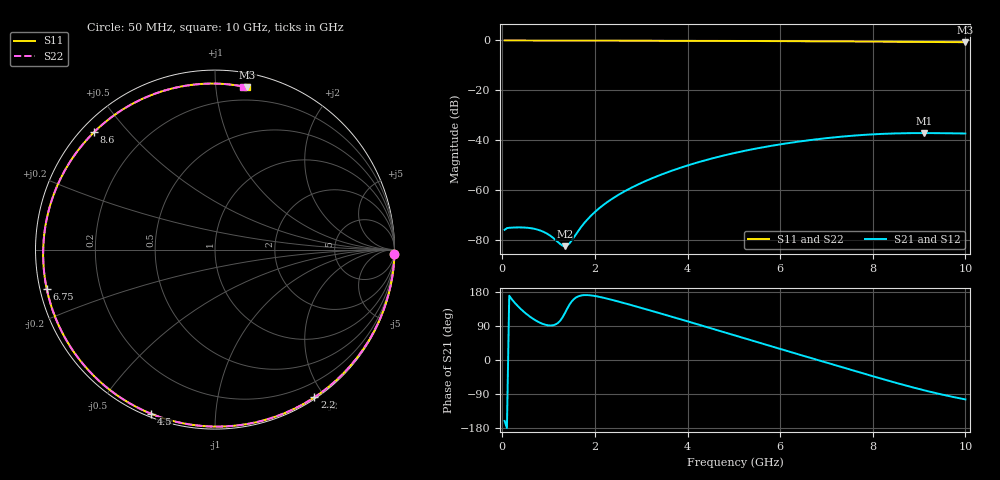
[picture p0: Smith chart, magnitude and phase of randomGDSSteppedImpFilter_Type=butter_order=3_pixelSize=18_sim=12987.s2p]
! freq	dB(S11)	phase(S11)	dB(S12)	phase(S12)
!  dB(S21)	phase(S21)	dB(S22)	phase(S22)
!S-par simulation data
#  GHz  S  DB  R 50
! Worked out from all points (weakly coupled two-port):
!   200 points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, 50 MHz to 10 GHz, reference 50 ohm
!   highest |S21| = -37.20 dB at 9.1 GHz (marker M1); lowest = -82.6 dB at 1.35 GHz (marker M2)
!   lowest |S11| = -0.7 dB at 10 GHz (marker M3), VSWR 24.72, Z = 5.02 + j60.8 ohm
!   |S11| at or under -10 dB: nowhere
!   |S22| runs from -0.7 to 0.0 dB; largest |S21 - S12| = 0
!   S11 on the Smith chart (normalised r, x): 50 MHz: 0, -88; 2.2 GHz: 0.02, -1.88; 4.5 GHz: 0.01, -0.68; 6.75 GHz: 0.02, -0.11; 8.6 GHz: 0.04, +0.41; 10 GHz: 0.10, +1.22
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0.05  -0.00 -1.3  -76.07 -160.8  -76.07 -160.8  -0.00 -1.3
0.2  -0.00 -5.2  -75.17 161.1  -75.17 161.1  -0.00 -5.2
0.65  -0.02 -16.9  -75.50 109.9  -75.50 109.9  -0.02 -16.9
0.9  -0.03 -23.3  -76.96 94.2  -76.96 94.2  -0.03 -23.3
1.15  -0.04 -29.7  -80.11 93.8  -80.11 93.8  -0.04 -29.7
1.35  -0.04 -34.8  -82.63 123.2  -82.63 123.2  -0.04 -34.8
1.5  -0.05 -38.6  -80.31 154.7  -80.31 154.7  -0.05 -38.6
1.75  -0.06 -44.9  -73.80 171.1  -73.80 171.1  -0.06 -44.8
2.2  -0.07 -56.0  -65.83 163.8  -65.83 163.8  -0.07 -56.0
2.75  -0.09 -69.5  -59.51 146.1  -59.51 146.1  -0.09 -69.5
3.4  -0.11 -85.2  -54.11 123.5  -54.11 123.5  -0.11 -85.1
4.5  -0.16 -111.3  -47.53 83.9  -47.53 83.9  -0.16 -111.2
5.05  -0.19 -124.4  -45.06 63.8  -45.06 63.8  -0.19 -124.2
5.9  -0.25 -145.0  -42.04 32.8  -42.04 32.8  -0.25 -144.8
6.7  -0.32 -165.6  -39.89 3.9  -39.89 3.9  -0.32 -165.3
6.75  -0.33 -167.0  -39.78 2.1  -39.78 2.1  -0.33 -166.6
7.6  -0.42 168.9  -38.20 -28.5  -38.20 -28.5  -0.42 169.4
8.35  -0.51 144.7  -37.42 -55.0  -37.42 -55.0  -0.51 145.4
8.6  -0.54 135.8  -37.29 -63.6  -37.29 -63.6  -0.54 136.7
9.1  -0.61 116.9  -37.20 -79.7  -37.20 -79.7  -0.60 118.0
9.55  -0.66 98.4  -37.26 -92.7  -37.26 -92.7  -0.65 99.7
10  -0.70 78.7  -37.37 -104.0  -37.37 -104.0  -0.70 80.1
